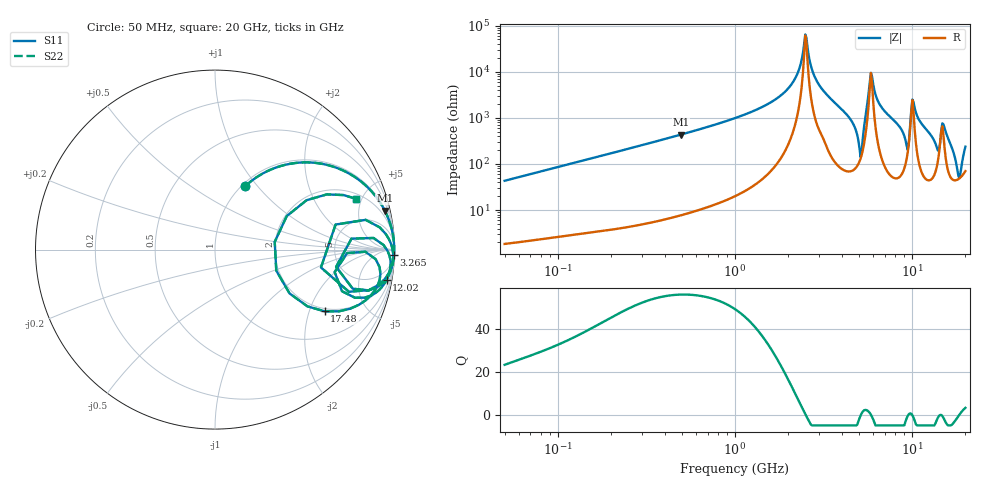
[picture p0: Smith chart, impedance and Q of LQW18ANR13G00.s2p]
!Murata Part Number: LQW18ANR13G00
!These Parameters are Measured in Series Mode Connection
!  o--[Z]--o
!Port1  Port2
!  o-------o
!Freq. Start=50[MHz] Stop=20[GHz], 401[Steps]
# Hz S RI R 50
!Freq.(Hz) S11(Real) S11(Imag) S21(Real) S21(Imag) S12(Real) S12(Imag) S22(Real) S22(Imag)
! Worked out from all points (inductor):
!   401 points, 50 MHz to 20 GHz, reference 50 ohm
!   read as one part in series: L = 137 nH near 51.52 MHz
!   highest Q = 56.2 at 494.6 MHz (marker M1), where L = 140 nH
!   self-resonance near 2.494 GHz
!   S11 on the Smith chart (normalised r, x): 50 MHz: 1.04, +0.86; 3.265 GHz: 6, -67; 12.02 GHz: 2, -11; 17.48 GHz: 1.89, -2.55; 20 GHz: 2.40, +4.53
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5e7  0.1681 0.3532  0.8319 -0.3532  0.8319 -0.3532  0.1681 0.3532
1.364002e8  0.5751 0.4814  0.4249 -0.4814  0.4249 -0.4814  0.5751 0.4814
3.721004e8  0.9076 0.2805  0.0924 -0.2805  0.0924 -0.2805  0.9076 0.2805
4.946044e8  0.946 0.2172  0.054 -0.2172  0.054 -0.2172  0.946 0.2172
1e9  0.9879 0.0997  0.0121 -0.0997  0.0121 -0.0997  0.9879 0.0997
1.962148e9  0.998 0.0247  0.00201 -0.0247  0.00201 -0.0247  0.998 0.0247
2.245319e9  0.9985 0.0112  0.00153 -0.0112  0.00153 -0.0112  0.9985 0.0112
2.493527e9  0.9985 0.000499  0.00147 -0.000499  0.00147 -0.000499  0.9985 0.000499
2.728004e9  0.9983 -0.00906  0.00171 0.00906  0.00171 0.00906  0.9983 -0.00906
3.265178e9  0.9968 -0.0297  0.00316 0.0297  0.00316 0.0297  0.9968 -0.0297
5.041459e9  0.7462 -0.2351  0.2538 0.2351  0.2538 0.2351  0.7462 -0.2351
5.273168e9  0.8394 0.1658  0.1606 -0.1658  0.1606 -0.1658  0.8394 0.1658
5.856089e9  0.9895 7.04e-05  0.0105 -7.04e-05  0.0105 -7.04e-05  0.9895 7.04e-05
7.442007e9  0.9869 -0.0896  0.0131 0.0896  0.0131 0.0896  0.9869 -0.0896
9.316812e9  0.7676 -0.218  0.2324 0.218  0.2324 0.218  0.7676 -0.218
1.019291e10  0.9726 -0.0351  0.0274 0.0351  0.0274 0.0351  0.9726 -0.0351
1.201863e10  0.9565 -0.1668  0.0435 0.1668  0.0435 0.1668  0.9565 -0.1668
1.375312e10  0.7799 -0.2684  0.2201 0.2684  0.2201 0.2684  0.7799 -0.2684
1.504638e10  0.9172 -0.098  0.0828 0.098  0.0828 0.098  0.9172 -0.098
1.747767e10  0.6112 -0.3439  0.3888 0.3439  0.3888 0.3439  0.6112 -0.3439
1.855685e10  0.3328 0.0433  0.6672 -0.0433  0.6672 -0.0433  0.3328 0.0433
2e10  0.7882 0.2821  0.2118 -0.2821  0.2118 -0.2821  0.7882 0.2821
